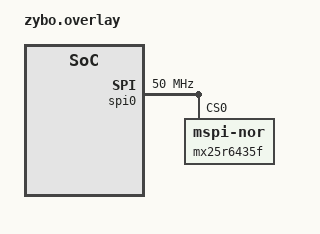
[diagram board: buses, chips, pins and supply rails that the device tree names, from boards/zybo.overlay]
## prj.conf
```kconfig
CONFIG_STDOUT_CONSOLE=y
CONFIG_FLASH=y
CONFIG_FLASH_MSPI_NOR=y
```

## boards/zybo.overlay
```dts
/*
 * Copyright (c) 2022 STMicroelectronics
 *
 * SPDX-License-Identifier: Apache-2.0
 */

 &spi0{
	status = "okay";
	clock-frequency = <50000000>;
	zephyr,deferred-init;
	mx25r6435f: mx25r6435f@0 {
		compatible = "jedec,mspi-nor";
		reg = <0>;
		jedec-id = [c2 80 3C];
		size = <67108864>;
		t-enter-dpd = <10000>;
		t-exit-dpd = <30000>;
		mspi-max-frequency = <50000000>;
		mspi-io-mode = "MSPI_IO_MODE_OCTAL";
		mspi-data-rate = "MSPI_DATA_RATE_SINGLE";
		mspi-hardware-ce-num = <1>;
		mspi-cpp-mode = "MSPI_CPP_MODE_0";
		mspi-endian = "MSPI_BIG_ENDIAN";
		mspi-ce-polarity = "MSPI_CE_ACTIVE_LOW";
		status = "okay";
		zephyr,deferred-init;
	};
};
```

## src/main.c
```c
/*
 * Copyright (c) 2016 Intel Corporation.
 *
 * SPDX-License-Identifier: Apache-2.0
 */

#include <zephyr/kernel.h>
#include <zephyr/drivers/flash.h>
#include <zephyr/device.h>
#include <zephyr/devicetree.h>
#include <stdio.h>
#include <string.h>

#if DT_HAS_COMPAT_STATUS_OKAY(xlnx_mspi_controller)
#define XLNX_MSPI_COMPAT xlnx_mspi_controller
#else
#define XLNX_MSPI_COMPAT invalid
#endif

// #if defined(CONFIG_BOARD_ADAFRUIT_FEATHER_STM32F405)
// #define SPI_FLASH_TEST_REGION_OFFSET 0xf000
// #elif defined(CONFIG_BOARD_ARTY_A7_DESIGNSTART_FPGA_CORTEX_M1) || \
// 	defined(CONFIG_BOARD_ARTY_A7_DESIGNSTART_FPGA_CORTEX_M3)
// /* The FPGA bitstream is stored in the lower 536 sectors of the flash. */
// #define SPI_FLASH_TEST_REGION_OFFSET \
// 	DT_REG_SIZE(DT_NODE_BY_FIXED_PARTITION_LABEL(fpga_bitstream))
// #elif defined(CONFIG_BOARD_NPCX9M6F_EVB) || \
// 	defined(CONFIG_BOARD_NPCX7M6FB_EVB)
// #define SPI_FLASH_TEST_REGION_OFFSET 0x7F000
// #else
// #define SPI_FLASH_TEST_REGION_OFFSET 0x0FF000
// #endif
// #define SPI_FLASH_SECTOR_SIZE        4096

// #if defined(CONFIG_FLASH_STM32_OSPI) || \
// 	defined(CONFIG_FLASH_STM32_QSPI) || \
// 	defined(CONFIG_FLASH_STM32_XSPI)
// #define SPI_FLASH_MULTI_SECTOR_TEST
// #endif

// #if DT_HAS_COMPAT_STATUS_OKAY(jedec_spi_nor)
// #define SPI_FLASH_COMPAT jedec_spi_nor
// #elif DT_HAS_COMPAT_STATUS_OKAY(jedec_mspi_nor)
// #define SPI_FLASH_COMPAT jedec_mspi_nor
// #elif DT_HAS_COMPAT_STATUS_OKAY(st_stm32_qspi_nor)
// #define SPI_FLASH_COMPAT st_stm32_qspi_nor
// #elif DT_HAS_COMPAT_STATUS_OKAY(st_stm32_ospi_nor)
// #define SPI_FLASH_COMPAT st_stm32_ospi_nor
// #elif DT_HAS_COMPAT_STATUS_OKAY(st_stm32_xspi_nor)
// #define SPI_FLASH_COMPAT st_stm32_xspi_nor
// #elif DT_HAS_COMPAT_STATUS_OKAY(nordic_qspi_nor)
// #define SPI_FLASH_COMPAT nordic_qspi_nor
// #else
// #define SPI_FLASH_COMPAT invalid
// #endif

// const uint8_t erased[] = { 0xff, 0xff, 0xff, 0xff };

// void single_sector_test(const struct device *flash_dev)
// {
// 	const uint8_t expected[] = { 0x55, 0xaa, 0x66, 0x99 };
// 	const size_t len = sizeof(expected);
// 	uint8_t buf[sizeof(expected)];
// 	int rc;
// 	printf ("***[%s], [%s], [%04d], \r\n", __FILE__, __func__, __LINE__);

// 	printf("\nPerform test on single sector");
// 	/* Write protection needs to be disabled before each write or
// 	 * erase, since the flash component turns on write protection
// 	 * automatically after completion of write and erase
// 	 * operations.
// 	 */
// 	printf("\nTest 1: Flash erase\n");

// 	/* Full flash erase if SPI_FLASH_TEST_REGION_OFFSET = 0 and
// 	 * SPI_FLASH_SECTOR_SIZE = flash size
// 	 */
// 	rc = flash_erase(flash_dev, SPI_FLASH_TEST_REGION_OFFSET,
// 			 SPI_FLASH_SECTOR_SIZE);
// 			 	printf ("***[%s], [%s], [%04d], \r\n", __FILE__, __func__, __LINE__);

// 	if (rc != 0) {
// 		printf("Flash erase failed! %d\n", rc);
// 	} else {
// 			printf ("***[%s], [%s], [%04d], \r\n", __FILE__, __func__, __LINE__);

// 		/* Check erased pattern */
// 		memset(buf, 0, len);
// 		rc = flash_read(flash_dev, SPI_FLASH_TEST_REGION_OFFSET, buf, len);
// 			printf ("***[%s], [%s], [%04d], \r\n", __FILE__, __func__, __LINE__);

// 		if (rc != 0) {
// 			printf("Flash read failed! %d\n", rc);
// 			return;
// 		}
// 		if (memcmp(erased, buf, len) != 0) {
// 			printf("Flash erase failed at offset 0x%x got 0x%x\n",
// 				SPI_FLASH_TEST_REGION_OFFSET, *(uint32_t *)buf);
// 			return;
// 		}
// 		printf("Flash erase succeeded!\n");
// 	}
// 	printf("\nTest 2: Flash write\n");

// 	printf("Attempting to write %zu bytes\n", len);
// 	rc = flash_write(flash_dev, SPI_FLASH_TEST_REGION_OFFSET, expected, len);
// 	if (rc != 0) {
// 		printf("Flash write failed! %d\n", rc);
// 		return;
// 	}

// 	memset(buf, 0, len);
// 	rc = flash_read(flash_dev, SPI_FLASH_TEST_REGION_OFFSET, buf, len);
// 	if (rc != 0) {
// 		printf("Flash read failed! %d\n", rc);
// 		return;
// 	}

// 	if (memcmp(expected, buf, len) == 0) {
// 		printf("Data read matches data written. Good!!\n");
// 	} else {
// 		const uint8_t *wp = expected;
// 		const uint8_t *rp = buf;
// 		const uint8_t *rpe = rp + len;

// 		printf("Data read does not match data written!!\n");
// 		while (rp < rpe) {
// 			printf("%08x wrote %02x read %02x %s\n",
// 			       (uint32_t)(SPI_FLASH_TEST_REGION_OFFSET + (rp - buf)),
// 			       *wp, *rp, (*rp == *wp) ? "match" : "MISMATCH");
// 			++rp;
// 			++wp;
// 		}
// 	}
// }

#if defined SPI_FLASH_MULTI_SECTOR_TEST
void multi_sector_test(const struct device *flash_dev)
{
	const uint8_t expected[] = { 0x55, 0xaa, 0x66, 0x99 };
	const size_t len = sizeof(expected);
	uint8_t buf[sizeof(expected)];
	int rc;

	printf("\nPerform test on multiple consecutive sectors");

	/* Write protection needs to be disabled before each write or
	 * erase, since the flash component turns on write protection
	 * automatically after completion of write and erase
	 * operations.
	 */
	printf("\nTest 1: Flash erase\n");

	/* Full flash erase if SPI_FLASH_TEST_REGION_OFFSET = 0 and
	 * SPI_FLASH_SECTOR_SIZE = flash size
	 * Erase 2 sectors for check for erase of consequtive sectors
	 */
	rc = flash_erase(flash_dev, SPI_FLASH_TEST_REGION_OFFSET, SPI_FLASH_SECTOR_SIZE * 2);
	if (rc != 0) {
		printf("Flash erase failed! %d\n", rc);
	} else {
		/* Read the content and check for erased */
		memset(buf, 0, len);
		size_t offs = SPI_FLASH_TEST_REGION_OFFSET;

		while (offs < SPI_FLASH_TEST_REGION_OFFSET + 2 * SPI_FLASH_SECTOR_SIZE) {
			rc = flash_read(flash_dev, offs, buf, len);
			if (rc != 0) {
				printf("Flash read failed! %d\n", rc);
				return;
			}
			if (memcmp(erased, buf, len) != 0) {
				printf("Flash erase failed at offset 0x%x got 0x%x\n",
				offs, *(uint32_t *)buf);
				return;
			}
			offs += SPI_FLASH_SECTOR_SIZE;
		}
		printf("Flash erase succeeded!\n");
	}

	printf("\nTest 2: Flash write\n");

	size_t offs = SPI_FLASH_TEST_REGION_OFFSET;

	while (offs < SPI_FLASH_TEST_REGION_OFFSET + 2 * SPI_FLASH_SECTOR_SIZE) {
		printf("Attempting to write %zu bytes at offset 0x%x\n", len, offs);
		rc = flash_write(flash_dev, offs, expected, len);
		if (rc != 0) {
			printf("Flash write failed! %d\n", rc);
			return;
		}

		memset(buf, 0, len);
		rc = flash_read(flash_dev, offs, buf, len);
		if (rc != 0) {
			printf("Flash read failed! %d\n", rc);
			return;
		}

		if (memcmp(expected, buf, len) == 0) {
			printf("Data read matches data written. Good!!\n");
		} else {
			const uint8_t *wp = expected;
			const uint8_t *rp = buf;
			const uint8_t *rpe = rp + len;

			printf("Data read does not match data written!!\n");
			while (rp < rpe) {
				printf("%08x wrote %02x read %02x %s\n",
					(uint32_t)(offs + (rp - buf)),
					*wp, *rp, (*rp == *wp) ? "match" : "MISMATCH");
				++rp;
				++wp;
			}
		}
		offs += SPI_FLASH_SECTOR_SIZE;
	}
}
#endif

int main(void)
{
 	printf ("***[%s], [%s], [%04d], \r\n", __FILE__, __func__, __LINE__);

	const struct device *mspi_dev = DEVICE_DT_GET_ONE(XLNX_MSPI_COMPAT);
	printf ("***[%s], [%s], [%04d], \r\n", __FILE__, __func__, __LINE__);

	if (!mspi_dev) {
 		printf ("***[%s], [%s], [%04d], \r\n", __FILE__, __func__, __LINE__);
		return;
	}
	printf ("***[%s], [%s], [%04d], \r\n", __FILE__, __func__, __LINE__);

	device_init(mspi_dev);

	const struct device *flash_dev = DEVICE_DT_GET_ONE(jedec_mspi_nor);
	printf ("***[%s], [%s], [%04d], \r\n", __FILE__, __func__, __LINE__);

	if (!flash_dev) {
 		printf ("***[%s], [%s], [%04d], \r\n", __FILE__, __func__, __LINE__);
		return;
	}

	printf ("***[%s], [%s], [%04d], \r\n", __FILE__, __func__, __LINE__);

	device_init(flash_dev);

	if (!device_is_ready(flash_dev)) {
		printk("%s: device not ready.\n", flash_dev->name);
		return 0;
	}

// 	printf("\n%s SPI flash testing\n", flash_dev->name);
// 	printf("==========================\n");

	// single_sector_test(flash_dev);
// #if defined SPI_FLASH_MULTI_SECTOR_TEST
// 	multi_sector_test(flash_dev);
// #endif
	return 0;
}
```
